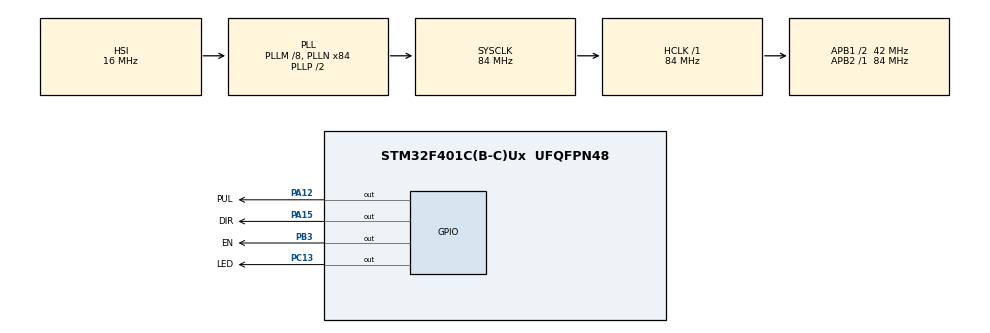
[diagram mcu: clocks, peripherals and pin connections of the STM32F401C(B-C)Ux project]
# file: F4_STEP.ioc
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Mcu.Family=STM32F4
Mcu.Name=STM32F401C(B-C)Ux
Mcu.Package=UFQFPN48
NVIC.PriorityGroup=NVIC_PRIORITYGROUP_4
NVIC.TIM1_UP_TIM10_IRQn=true\:0\:0\:false\:false\:true\:true\:true\:true
PA12.GPIO_Label=PUL
PA12.Signal=GPIO_Output
PA13.Mode=Serial_Wire
PA13.Signal=SYS_JTMS-SWDIO
PA14.Mode=Serial_Wire
PA14.Signal=SYS_JTCK-SWCLK
PA15.GPIO_Label=DIR
PA15.Signal=GPIO_Output
PB3.GPIO_Label=EN
PB3.Signal=GPIO_Output
PC13-ANTI_TAMP.GPIO_Label=LED
PC13-ANTI_TAMP.Signal=GPIO_Output
PH0\ -\ OSC_IN.Mode=HSE-External-Oscillator
PH0\ -\ OSC_IN.Signal=RCC_OSC_IN
PH1\ -\ OSC_OUT.Mode=HSE-External-Oscillator
PH1\ -\ OSC_OUT.Signal=RCC_OSC_OUT
ProjectManager.HeapSize=0x200
ProjectManager.StackSize=0x400
ProjectManager.TargetToolchain=MDK-ARM V5.32
RCC.48MHZClocksFreq_Value=42000000
RCC.AHBFreq_Value=84000000
RCC.APB1CLKDivider=RCC_HCLK_DIV2
RCC.APB1Freq_Value=42000000
RCC.APB1TimFreq_Value=84000000
RCC.APB2Freq_Value=84000000
RCC.APB2TimFreq_Value=84000000
RCC.CortexFreq_Value=84000000
RCC.HCLKFreq_Value=84000000
RCC.HSE_VALUE=25000000
RCC.HSI_VALUE=16000000
RCC.LSE_VALUE=32768
RCC.PLLM=8
RCC.PLLN=84
RCC.SYSCLKFreq_VALUE=84000000
RCC.SYSCLKSource=RCC_SYSCLKSOURCE_PLLCLK
RCC.VCOOutputFreq_Value=168000000
TIM10.Period=70-1
TIM10.Prescaler=84-1
VP_TIM10_VS_ClockSourceINT.Mode=Enable_Timer
board=custom

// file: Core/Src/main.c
/* USER CODE BEGIN Header */
/**
  ******************************************************************************
  * @file           : main.c
  * @brief          : Main program body
  ******************************************************************************
  * @attention
  *
  * Copyright (c) 2024 STMicroelectronics.
  * All rights reserved.
  *
  * This software is licensed under terms that can be found in the LICENSE file
  * in the root directory of this software component.
  * If no LICENSE file comes with this software, it is provided AS-IS.
  *
  ******************************************************************************
  */
/* USER CODE END Header */
#include "main.h"
#include "tim.h"
#include "gpio.h"

/* USER CODE BEGIN Includes */
#include "math.h"
/* USER CODE END Includes */

void SystemClock_Config(void);

/* USER CODE BEGIN 0 */
typedef struct
{
	uint8_t speed;
	uint32_t pulseOneRoud;
	float currentAngle;
	float nextAngle;
} inforStep_t;
inforStep_t inforStep;

#define MID 180
#define END 360

uint64_t pulseStep =0;
void HAL_TIM_PeriodElapsedCallback(TIM_HandleTypeDef *htim)
{
	if (htim->Instance == htim10.Instance)
	{
		if (pulseStep != 0)
		{
			pulseStep--;
			HAL_GPIO_TogglePin(PUL_GPIO_Port, PUL_Pin);
		}
	}
}

uint32_t stepAngle(float angle)
{
	float angleNew;
	uint32_t pulse;
	uint8_t dirStep;
	inforStep.nextAngle = angle;
	if (angle != inforStep.currentAngle)
	{
		float dimension = fabs(inforStep.nextAngle - inforStep.currentAngle);
		if(dimension < MID)
		{
			angleNew = dimension;
			dirStep = 0;
		}else if (dimension >= MID)
		{
			angleNew = (END - dimension);
			if(inforStep.nextAngle - inforStep.currentAngle < 0)
			{
				dirStep = 0;
			}
			else
			{
				dirStep = 1;
			}
		}
		HAL_GPIO_WritePin(DIR_GPIO_Port, DIR_Pin, dirStep);
		pulse = inforStep.pulseOneRoud * (fabs(angleNew) / 360.0);

		inforStep.currentAngle = inforStep.nextAngle;
	}
	else
	{
		pulse = 0;
	}
	return pulse;
}
/* USER CODE END 0 */

int main(void)
{

  /* MCU Configuration--------------------------------------------------------*/

  /* Reset of all peripherals, Initializes the Flash interface and the Systick. */
  HAL_Init();

  /* Configure the system clock */
  SystemClock_Config();

  /* Initialize all configured peripherals */
  MX_GPIO_Init();
  MX_TIM10_Init();
  /* USER CODE BEGIN 2 */
	HAL_GPIO_WritePin(EN_GPIO_Port, EN_Pin, 1);
	HAL_TIM_Base_Start_IT(&htim10);
	inforStep.pulseOneRoud = 3200;
	inforStep.currentAngle = 0;
	inforStep.nextAngle = 0;

	HAL_Delay(2000);
	pulseStep = stepAngle(10);

	HAL_Delay(2000);
	pulseStep = stepAngle(80);

	HAL_Delay(2000);
	pulseStep = stepAngle(350);

	HAL_Delay(2000);
	pulseStep = stepAngle(10);

	HAL_Delay(2000);
	pulseStep = stepAngle(80);

	HAL_Delay(2000);
	pulseStep = stepAngle(350);

  /* USER CODE END 2 */

  /* Infinite loop */
  /* USER CODE BEGIN WHILE */
  while (1)
  {
	  pulseStep = stepAngle(350);
	  HAL_Delay(2000);
	  pulseStep = stepAngle(180);
	  HAL_Delay(2000);
//		pulseStep = stepAngle(10);
//
//		HAL_Delay(2000);
//
//		pulseStep = stepAngle(350);
//
//		HAL_Delay(2000);
//	  pulseStep = 3200;
//	  HAL_GPIO_WritePin(DIR_GPIO_Port, DIR_Pin, 0);

    /* USER CODE END WHILE */

  }
}

void SystemClock_Config(void)
{
  RCC_OscInitTypeDef RCC_OscInitStruct = {0};
  RCC_ClkInitTypeDef RCC_ClkInitStruct = {0};

  /** Configure the main internal regulator output voltage
  */
  __HAL_RCC_PWR_CLK_ENABLE();
  __HAL_PWR_VOLTAGESCALING_CONFIG(PWR_REGULATOR_VOLTAGE_SCALE2);

  /** Initializes the RCC Oscillators according to the specified parameters
  * in the RCC_OscInitTypeDef structure.
  */
  RCC_OscInitStruct.OscillatorType = RCC_OSCILLATORTYPE_HSI;
  RCC_OscInitStruct.HSIState = RCC_HSI_ON;
  RCC_OscInitStruct.HSICalibrationValue = RCC_HSICALIBRATION_DEFAULT;
  RCC_OscInitStruct.PLL.PLLState = RCC_PLL_ON;
  RCC_OscInitStruct.PLL.PLLSource = RCC_PLLSOURCE_HSI;
  RCC_OscInitStruct.PLL.PLLM = 8;
  RCC_OscInitStruct.PLL.PLLN = 84;
  RCC_OscInitStruct.PLL.PLLP = RCC_PLLP_DIV2;
  RCC_OscInitStruct.PLL.PLLQ = 4;
  if (HAL_RCC_OscConfig(&RCC_OscInitStruct) != HAL_OK)
  {
    Error_Handler();
  }

  /** Initializes the CPU, AHB and APB buses clocks
  */
  RCC_ClkInitStruct.ClockType = RCC_CLOCKTYPE_HCLK|RCC_CLOCKTYPE_SYSCLK
                              |RCC_CLOCKTYPE_PCLK1|RCC_CLOCKTYPE_PCLK2;
  RCC_ClkInitStruct.SYSCLKSource = RCC_SYSCLKSOURCE_PLLCLK;
  RCC_ClkInitStruct.AHBCLKDivider = RCC_SYSCLK_DIV1;
  RCC_ClkInitStruct.APB1CLKDivider = RCC_HCLK_DIV2;
  RCC_ClkInitStruct.APB2CLKDivider = RCC_HCLK_DIV1;

  if (HAL_RCC_ClockConfig(&RCC_ClkInitStruct, FLASH_LATENCY_2) != HAL_OK)
  {
    Error_Handler();
  }
}

void Error_Handler(void)
{
  __disable_irq();
  while (1)
  {
  }
}
